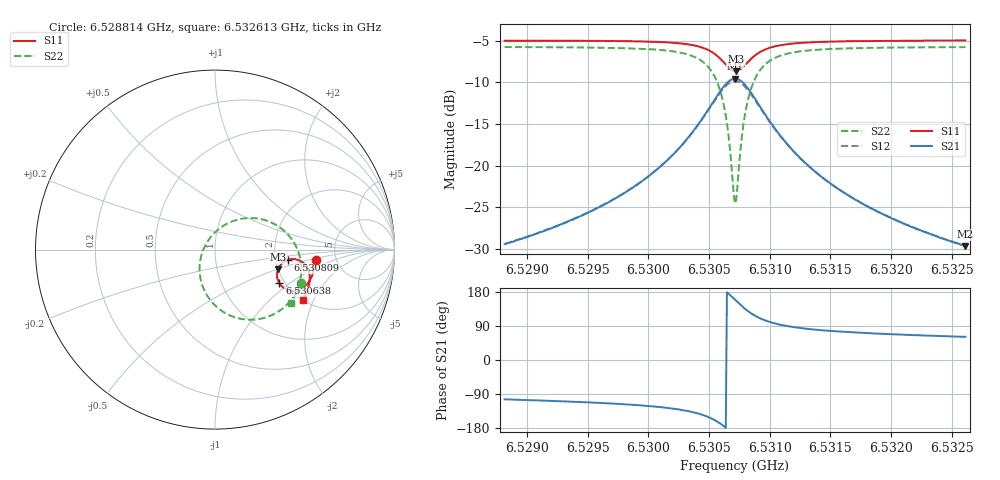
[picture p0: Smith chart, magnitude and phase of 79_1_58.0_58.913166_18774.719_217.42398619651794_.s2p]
#  HZ  S  RI  R  50.00
! Rohde & Schwarz Vector Network Analyzer
! Rohde-Schwarz,ZNB20-2Port,1311601062101988,3.16
! Created: UTC 3/21/2024, 12:53:49 AM
! freq[Hz]  re:S11  im:S11  re:S21  im:S21  re:S12  im:S12  re:S22  im:S22
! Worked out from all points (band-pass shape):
!   401 points, 6.528814 GHz to 6.532613 GHz, reference 50 ohm
!   highest |S21| = -9.56 dB at 6.530714 GHz (marker M1); lowest = -29.7 dB at 6.532613 GHz (marker M2)
!   |S21| within 3 dB of the highest: 6.530525 GHz to 6.530905 GHz (380 kHz wide, 0.00582 % of centre)
!   lowest |S11| = -8.7 dB at 6.530723 GHz (marker M3), VSWR 2.16, Z = 99.9 - j25.3 ohm
!   |S11| at or under -10 dB: nowhere
!   |S22| runs from -24.6 to -5.7 dB; largest |S21 - S12| = 0.014
!   S11 on the Smith chart (normalised r, x): 6.528814 GHz: 3.48, -0.58; 6.530638 GHz: 1.87, -0.84; 6.530809 GHz: 2.34, -0.32; 6.532613 GHz: 2.03, -1.66
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6.5288141e9  0.5607 -0.0564  -0.00819 -0.0327  -0.00873 -0.0326  0.4812 -0.1864
6.5294504e9  0.5513 -0.1111  -0.0179 -0.0467  -0.0192 -0.0463  0.4488 -0.2486
6.5297829e9  0.5413 -0.1434  -0.0298 -0.06  -0.0314 -0.0595  0.4174 -0.2898
6.5300868e9  0.5238 -0.1784  -0.054 -0.0805  -0.0565 -0.0789  0.3627 -0.3389
6.5303147e9  0.4942 -0.2104  -0.0996 -0.103  -0.1028 -0.0993  0.2704 -0.3814
6.5304762e9  0.4458 -0.2297  -0.1766 -0.1092  -0.1792 -0.1014  0.1293 -0.3825
6.5305712e9  0.396 -0.2212  -0.2545 -0.0763  -0.253 -0.0651  0.000599 -0.3113
6.5306377e9  0.3587 -0.1876  -0.3082 -0.00684  -0.3006 0.00406  -0.0756 -0.1841
6.5306662e9  0.3487 -0.164  -0.3201 0.0372  -0.3099 0.0464  -0.0863 -0.1088
6.5306947e9  0.3457 -0.1369  -0.3193 0.0861  -0.3072 0.0924  -0.0751 -0.0286
6.5307136e9  0.3486 -0.1184  -0.3107 0.1188  -0.2981 0.1227  -0.0544 0.0229
6.5307231e9  0.3514 -0.1093  -0.304 0.1343  -0.2913 0.1371  -0.0405 0.0471
6.5307326e9  0.3553 -0.1008  -0.2958 0.149  -0.2832 0.1508  -0.0243 0.0694
6.5307706e9  0.3781 -0.0728  -0.2516 0.1966  -0.241 0.1946  0.0572 0.1389
6.5308086e9  0.407 -0.057  -0.1989 0.2223  -0.1913 0.2186  0.1484 0.1717
6.5308751e9  0.4538 -0.055  -0.1175 0.2258  -0.1135 0.222  0.2855 0.1619
6.5309701e9  0.4953 -0.0768  -0.0467 0.1932  -0.045 0.1911  0.4 0.0905
6.5311126e9  0.5203 -0.1136  -0.00356 0.1433  -0.00237 0.1425  0.4637 -0.0106
6.53135e9  0.5283 -0.158  0.0151 0.0939  0.0162 0.0936  0.4813 -0.1139
6.5316349e9  0.524 -0.1943  0.0186 0.0644  0.0195 0.0641  0.4728 -0.1825
6.5319864e9  0.514 -0.2285  0.018 0.0454  0.0189 0.0451  0.4554 -0.2343
6.5326132e9  0.4919 -0.2783  0.0157 0.0287  0.0164 0.0284  0.4228 -0.2948
